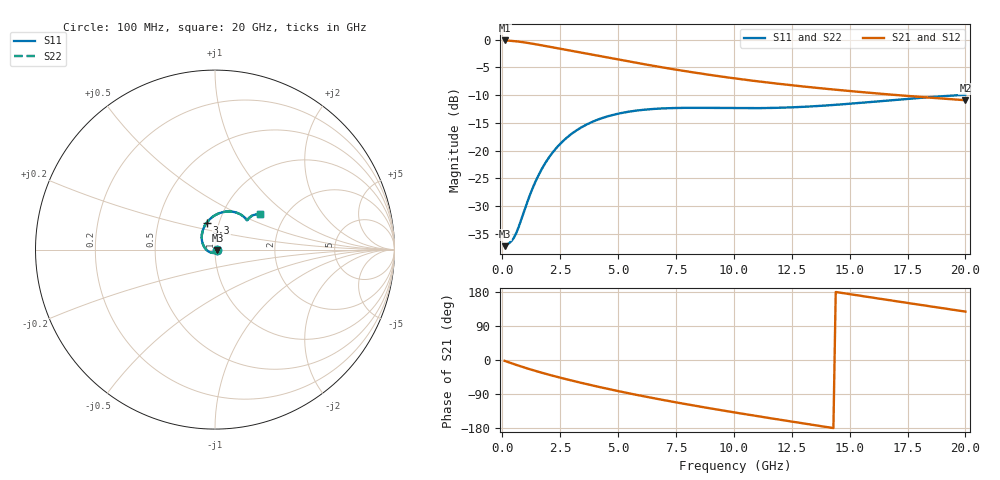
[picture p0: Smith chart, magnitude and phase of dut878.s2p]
! Touchstone file exported from HFSS 2024.1.0
!  File:  C:/UserFiles/LocalFiles/RDL_TSV_Batchsim/temp_RDL_TSV_878_1779929412.aedt
!  Generated:  09:03:13 AM May 28, 2026
!  Design:  RDL_TSV
!  Project:  temp_RDL_TSV_878_1779929412
!  Setup:  Setup1
!  Solution:  Sweep
! Variables:
!  dtsv = 14.61um
!  hbump = 3um
!  htsv = 84.45um
!  ldown = 491.5um
!  lrdl = 418.09um
!  p = 40
!  p1 = 50.72um
!  rhole = 10um
!  subl = 3146.86um
!  t = 450um
!  tdown = 4.26um
!  trdl = 3.79um
!  viad = 10um
!  wdown = 20.44um
!  wrdl = 21.62um
!  xbump = 18um
# GHz S MA R 50.000000
! Terminal data exported
! Port[1] = TM1_1_T1
! Port[2] = TM1_4_T1
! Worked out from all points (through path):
!   200 points, 100 MHz to 20 GHz, reference 50 ohm
!   highest |S21| = -0.13 dB at 100 MHz (marker M1); lowest = -10.9 dB at 20 GHz (marker M2)
!   group delay of S21, straight-line fit = 30.3 ps
!   lowest |S11| = -37.2 dB at 100 MHz (marker M3), VSWR 1.03, Z = 51.4 - j0.327 ohm
!   |S11| at or under -10 dB: start of sweep to 19.67 GHz
!   |S22| runs from -37.2 to -9.9 dB; largest |S21 - S12| = 2.8e-14
!   S11 on the Smith chart (normalised r, x): 100 MHz: 1.03, -0.01; 3.3 GHz: 0.87, +0.27; 20 GHz: 1.50, +0.66
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0.1  0.01377 -13.4  0.9856 -2.2  0.9856 -2.2  0.01377 -13.4
! Gamma 0 0 0 0
! Port Impedance 50 0 50 0
0.4  0.01533 -63.2  0.9769 -8.6  0.9769 -8.6  0.01533 -63.2
0.6  0.01802 -97.7  0.9679 -12.8  0.9679 -12.8  0.01802 -97.6
1.3  0.04534 -175.6  0.9218 -26.4  0.9218 -26.4  0.04533 -175.6
1.6  0.06211 165.9  0.8988 -31.8  0.8988 -31.8  0.0621 165.9
1.9  0.07988 151.2  0.8754 -36.9  0.8754 -36.9  0.07985 151.3
2.5  0.1152 128.9  0.8296 -46.6  0.8296 -46.6  0.1152 128.9
2.9  0.1371 117.1  0.8004 -52.8  0.8004 -52.8  0.1371 117.2
3.3  0.1569 107.1  0.7723 -58.7  0.7723 -58.7  0.1569 107.2
3.5  0.166 102.7  0.7587 -61.6  0.7587 -61.6  0.1659 102.7
4.3  0.1963 87.4  0.7064 -72.7  0.7064 -72.7  0.1962 87.5
5.2  0.2197 74.3  0.6522 -84.5  0.6522 -84.5  0.2196 74.3
6  0.2325 65.2  0.6084 -94.4  0.6084 -94.4  0.2324 65.2
6.8  0.2397 58.1  0.5689 -103.9  0.5689 -103.9  0.2395 58.1
8.4  0.2433 48.6  0.5021 -121.5  0.5021 -121.5  0.2432 48.7
10.1  0.2418 43.7  0.4468 -139.0  0.4468 -139.0  0.2417 43.8
11.7  0.243 42.4  0.4061 -154.8  0.4061 -154.8  0.243 42.6
13.4  0.251 42.6  0.3716 -171.1  0.3716 -171.1  0.2512 42.7
15  0.2649 42.8  0.345 173.8  0.345 173.8  0.2652 42.9
16.7  0.2837 42.1  0.3214 158.0  0.3214 158.0  0.2842 42.3
18.4  0.3031 40.5  0.3013 142.3  0.3013 142.3  0.3038 40.6
20  0.3193 38.2  0.2851 127.7  0.2851 127.7  0.32 38.4
